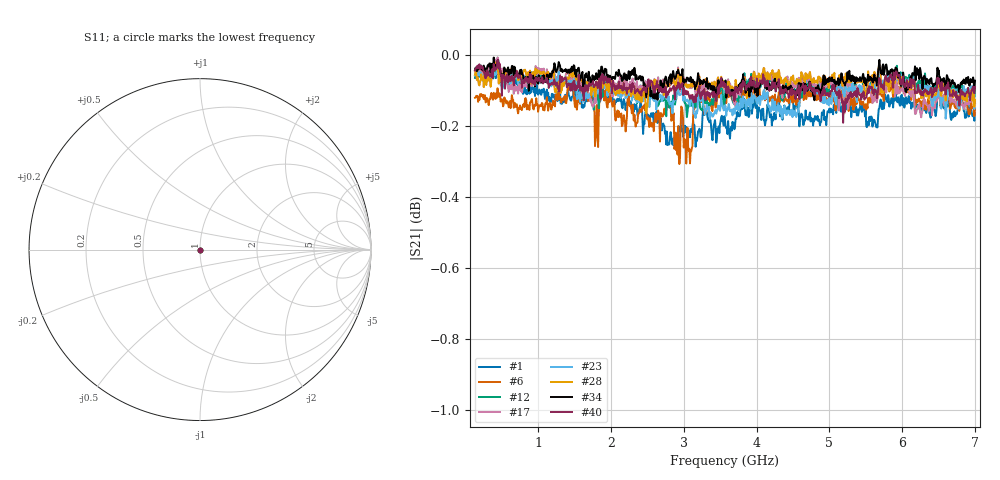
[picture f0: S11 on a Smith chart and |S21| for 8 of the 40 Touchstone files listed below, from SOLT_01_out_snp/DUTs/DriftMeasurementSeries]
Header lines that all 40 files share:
# Hz S RI R 50.000000
! Metas.Vna.Tools, 2.8.8664.20301
! Metas.Vna.Data, 2.8.8664.20285
! FREQ  re:S1,1  im:S1,1  re:S2,1  im:S2,1  re:S1,2  im:S1,2  re:S2,2  im:S2,2
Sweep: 130 MHz to 7 GHz
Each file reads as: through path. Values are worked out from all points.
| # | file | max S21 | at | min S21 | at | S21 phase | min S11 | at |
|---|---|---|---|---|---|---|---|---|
| 1 | DriftMeasurementSeries_0041.s2p | -0.03 dB | 439.1 MHz | -0.3 dB | 2.895 GHz | -1 deg at 3.565 GHz | -81.1 dB | 1.143 GHz |
| 2 | DriftMeasurementSeries_0042.s2p | -0.03 dB | 439.1 MHz | -0.2 dB | 5.635 GHz | -1 deg at 3.565 GHz | -83.6 dB | 422 MHz |
| 3 | DriftMeasurementSeries_0043.s2p | -0.03 dB | 387.6 MHz | -0.2 dB | 2.887 GHz | -1 deg at 3.565 GHz | -84.5 dB | 6.906 GHz |
| 4 | DriftMeasurementSeries_0044.s2p | -0.04 dB | 5.909 GHz | -0.2 dB | 2.285 GHz | -1 deg at 3.565 GHz | -80.9 dB | 1.976 GHz |
| 5 | DriftMeasurementSeries_0045.s2p | -0.04 dB | 404.8 MHz | -0.2 dB | 1.847 GHz | -1 deg at 3.565 GHz | -89.4 dB | 215.9 MHz |
| 6 | DriftMeasurementSeries_0046.s2p | -0.07 dB | 5.789 GHz | -0.3 dB | 2.938 GHz | -1 deg at 3.565 GHz | -90.4 dB | 3.093 GHz |
| 7 | DriftMeasurementSeries_0047.s2p | 0.00 dB | 439.1 MHz | -0.2 dB | 3.161 GHz | -1 deg at 3.565 GHz | -81.1 dB | 215.9 MHz |
| 8 | DriftMeasurementSeries_0048.s2p | 0.01 dB | 439.1 MHz | -0.2 dB | 2.054 GHz | -1 deg at 3.565 GHz | -89.5 dB | 207.3 MHz |
| 9 | DriftMeasurementSeries_0049.s2p | -0.02 dB | 447.7 MHz | -0.1 dB | 2.526 GHz | -1 deg at 3.565 GHz | -85.5 dB | 1.607 GHz |
| 10 | DriftMeasurementSeries_0050.s2p | 0.01 dB | 439.1 MHz | -0.1 dB | 5.652 GHz | -1 deg at 3.565 GHz | -79.3 dB | 1.598 GHz |
| 11 | DriftMeasurementSeries_0051.s2p | -0.01 dB | 6.141 GHz | -0.2 dB | 756.9 MHz | -1 deg at 3.565 GHz | -83.2 dB | 5.162 GHz |
| 12 | DriftMeasurementSeries_0052.s2p | -0.02 dB | 439.1 MHz | -0.2 dB | 3.041 GHz | -1 deg at 3.565 GHz | -90.1 dB | 1.152 GHz |
| 13 | DriftMeasurementSeries_0053.s2p | -0.04 dB | 439.1 MHz | -0.2 dB | 6.416 GHz | -1 deg at 3.565 GHz | -81.2 dB | 3.239 GHz |
| 14 | DriftMeasurementSeries_0054.s2p | -0.02 dB | 439.1 MHz | -0.2 dB | 2.483 GHz | -1 deg at 3.565 GHz | -91.2 dB | 3.488 GHz |
| 15 | DriftMeasurementSeries_0055.s2p | 0.01 dB | 447.7 MHz | -0.2 dB | 6.854 GHz | -1 deg at 3.565 GHz | -85.6 dB | 1.976 GHz |
| 16 | DriftMeasurementSeries_0056.s2p | -0.02 dB | 439.1 MHz | -0.1 dB | 6.966 GHz | -1 deg at 3.565 GHz | -94.5 dB | 3.247 GHz |
| 17 | DriftMeasurementSeries_0057.s2p | -0.01 dB | 439.1 MHz | -0.2 dB | 6.261 GHz | -1 deg at 3.565 GHz | -91.1 dB | 422 MHz |
| 18 | DriftMeasurementSeries_0058.s2p | -0.04 dB | 387.6 MHz | -0.2 dB | 2.389 GHz | -1 deg at 3.565 GHz | -88.5 dB | 1.495 GHz |
| 19 | DriftMeasurementSeries_0059.s2p | -0.01 dB | 439.1 MHz | -0.2 dB | 2.638 GHz | -1 deg at 3.565 GHz | -88.3 dB | 430.6 MHz |
| 20 | DriftMeasurementSeries_0060.s2p | -0.01 dB | 387.6 MHz | -0.2 dB | 6.991 GHz | -1 deg at 3.565 GHz | -85.3 dB | 276 MHz |
| 21 | DriftMeasurementSeries_0061.s2p | -0.01 dB | 439.1 MHz | -0.2 dB | 2.835 GHz | -1 deg at 3.565 GHz | -93.5 dB | 1.976 GHz |
| 22 | DriftMeasurementSeries_0062.s2p | -0.04 dB | 5.909 GHz | -0.1 dB | 5.652 GHz | -1 deg at 3.565 GHz | -85.0 dB | 6.897 GHz |
| 23 | DriftMeasurementSeries_0063.s2p | -0.03 dB | 387.6 MHz | -0.2 dB | 3.359 GHz | -1 deg at 3.565 GHz | -86.3 dB | 1.152 GHz |
| 24 | DriftMeasurementSeries_0064.s2p | -0.05 dB | 1.702 GHz | -0.2 dB | 3.866 GHz | -1 deg at 3.565 GHz | -86.5 dB | 1.495 GHz |
| 25 | DriftMeasurementSeries_0065.s2p | -0.02 dB | 447.7 MHz | -0.2 dB | 6.365 GHz | -1 deg at 3.565 GHz | -90.6 dB | 3.247 GHz |
| 26 | DriftMeasurementSeries_0066.s2p | -0.03 dB | 447.7 MHz | -0.2 dB | 6.468 GHz | -1 deg at 3.565 GHz | -100.2 dB | 1.504 GHz |
| 27 | DriftMeasurementSeries_0067.s2p | 0.01 dB | 387.6 MHz | -0.1 dB | 6.33 GHz | -1 deg at 3.565 GHz | -89.6 dB | 3.256 GHz |
| 28 | DriftMeasurementSeries_0068.s2p | -0.02 dB | 404.8 MHz | -0.2 dB | 2.483 GHz | -1 deg at 3.565 GHz | -90.0 dB | 1.504 GHz |
| 29 | DriftMeasurementSeries_0069.s2p | -0.02 dB | 447.7 MHz | -0.2 dB | 2.543 GHz | -1 deg at 3.565 GHz | -87.3 dB | 1.152 GHz |
| 30 | DriftMeasurementSeries_0070.s2p | 0.00 dB | 387.6 MHz | -0.2 dB | 4.991 GHz | -1 deg at 3.565 GHz | -82.9 dB | 2.2 GHz |
| 31 | DriftMeasurementSeries_0071.s2p | 0.00 dB | 439.1 MHz | -0.1 dB | 2.844 GHz | -1 deg at 3.565 GHz | -103.7 dB | 5.068 GHz |
| 32 | DriftMeasurementSeries_0072.s2p | -0.03 dB | 5.884 GHz | -0.2 dB | 2.706 GHz | -1 deg at 3.565 GHz | -87.5 dB | 1.152 GHz |
| 33 | DriftMeasurementSeries_0073.s2p | -0.01 dB | 439.1 MHz | -0.2 dB | 6.991 GHz | -1 deg at 3.565 GHz | -96.7 dB | 1.152 GHz |
| 34 | DriftMeasurementSeries_0074.s2p | -0.01 dB | 387.6 MHz | -0.1 dB | 4.793 GHz | -1 deg at 3.565 GHz | -90.4 dB | 1.976 GHz |
| 35 | DriftMeasurementSeries_0075.s2p | 0.01 dB | 387.6 MHz | -0.1 dB | 3.033 GHz | -1 deg at 3.565 GHz | -87.4 dB | 422 MHz |
| 36 | DriftMeasurementSeries_0076.s2p | -0.01 dB | 439.1 MHz | -0.2 dB | 2.122 GHz | -1 deg at 3.565 GHz | -97.6 dB | 1.152 GHz |
| 37 | DriftMeasurementSeries_0077.s2p | -0.08 dB | 5.909 GHz | -0.2 dB | 2.354 GHz | -1 deg at 3.565 GHz | -91.8 dB | 3.247 GHz |
| 38 | DriftMeasurementSeries_0078.s2p | -0.03 dB | 439.1 MHz | -0.2 dB | 6.596 GHz | -1 deg at 3.565 GHz | -82.2 dB | 3.247 GHz |
| 39 | DriftMeasurementSeries_0079.s2p | -0.06 dB | 190.1 MHz | -0.2 dB | 5.076 GHz | -1 deg at 3.565 GHz | -87.4 dB | 6.725 GHz |
| 40 | DriftMeasurementSeries_0080.s2p | -0.02 dB | 447.7 MHz | -0.2 dB | 5.188 GHz | -1 deg at 3.565 GHz | -87.2 dB | 1.495 GHz |
